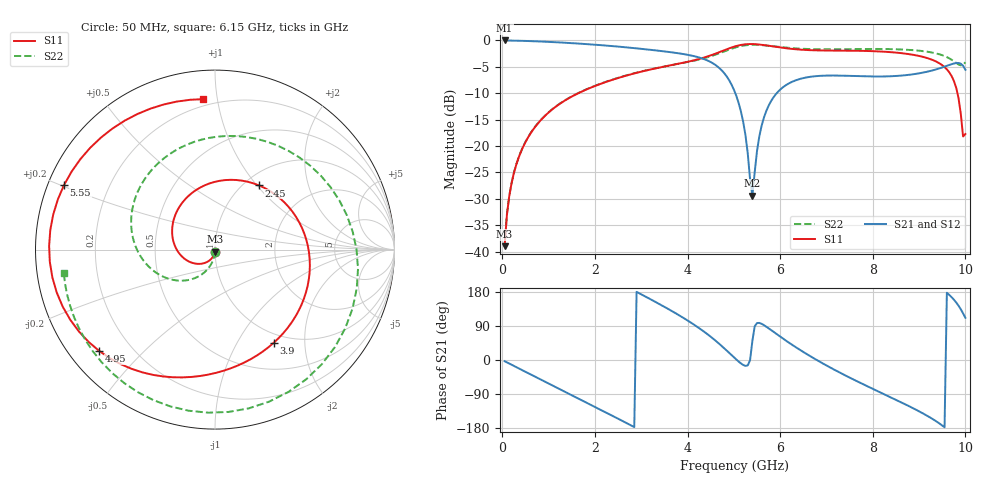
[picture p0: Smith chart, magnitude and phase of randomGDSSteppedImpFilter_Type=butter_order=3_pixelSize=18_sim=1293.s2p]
! freq	dB(S11)	phase(S11)	dB(S12)	phase(S12)
!  dB(S21)	phase(S21)	dB(S22)	phase(S22)
!S-par simulation data
#  GHz  S  DB  R 50
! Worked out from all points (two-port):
!   200 points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, 50 MHz to 10 GHz, reference 50 ohm
!   highest |S21| = -0.01 dB at 50 MHz (marker M1); lowest = -29.4 dB at 5.4 GHz (marker M2)
!   |S21| within 3 dB of the highest: start of sweep to 4.153 GHz
!   lowest |S11| = -39.0 dB at 50 MHz (marker M3), VSWR 1.02, Z = 49.9 - j1.12 ohm
!   |S11| at or under -10 dB: start of sweep to 1.641 GHz; 9.828 GHz to end of sweep
!   |S22| runs from -38.9 to -0.8 dB; largest |S21 - S12| = 0
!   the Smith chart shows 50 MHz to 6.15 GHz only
!   S11 on the Smith chart (normalised r, x): 50 MHz: 1.00, -0.02; 2.45 GHz: 1.16, +1.03; 3.9 GHz: 0.86, -1.44; 4.95 GHz: 0.09, -0.37; 5.55 GHz: 0.05, +0.20; 6.15 GHz: 0.16, +0.91
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0.05  -38.97 -93.7  -0.01 -3.2  -0.01 -3.2  -38.91 -91.0
0.2  -27.05 -107.3  -0.03 -12.5  -0.03 -12.5  -27.01 -97.6
0.5  -19.27 -133.7  -0.10 -31.1  -0.10 -31.1  -19.22 -109.4
1.15  -12.58 169.5  -0.34 -71.2  -0.34 -71.2  -12.54 -133.4
1.75  -9.55 116.6  -0.65 -108.2  -0.65 -108.2  -9.52 -154.4
2.45  -7.26 55.5  -1.13 -151.7  -1.13 -151.7  -7.22 179.8
3.4  -5.13 -21.3  -1.97 147.1  -1.97 147.1  -5.11 134.7
3.9  -4.24 -57.8  -2.57 111.9  -2.57 111.9  -4.28 101.0
4.45  -2.98 -96.8  -3.88 66.2  -3.88 66.2  -3.14 47.4
4.95  -1.34 -138.9  -8.36 12.9  -8.36 12.9  -1.58 -23.2
5.05  -1.06 -148.9  -10.42 1.6  -10.42 1.6  -1.30 -39.1
5.25  -0.73 -170.3  -17.90 -15.5  -17.90 -15.5  -0.92 -70.4
5.4  -0.69 173.2  -29.39 50.0  -29.39 50.0  -0.83 -92.4
5.55  -0.77 156.8  -18.18 97.9  -18.18 97.9  -0.86 -112.2
6.15  -1.51 94.4  -8.33 49.0  -8.33 49.0  -1.38 -171.1
6.7  -1.86 42.0  -6.83 6.4  -6.83 6.4  -1.65 152.9
7.4  -1.94 -16.1  -6.69 -40.3  -6.69 -40.3  -1.65 115.9
8.35  -2.20 -82.6  -6.80 -96.3  -6.80 -96.3  -1.64 70.3
8.9  -2.77 -121.3  -6.38 -129.1  -6.38 -129.1  -1.86 44.8
9.4  -4.14 -165.5  -5.40 -164.2  -5.40 -164.2  -2.53 22.3
9.8  -8.93 130.5  -4.29 152.1  -4.29 152.1  -4.26 10.7
10  -17.73 -29.8  -5.56 111.4  -5.56 111.4  -4.14 20.5
